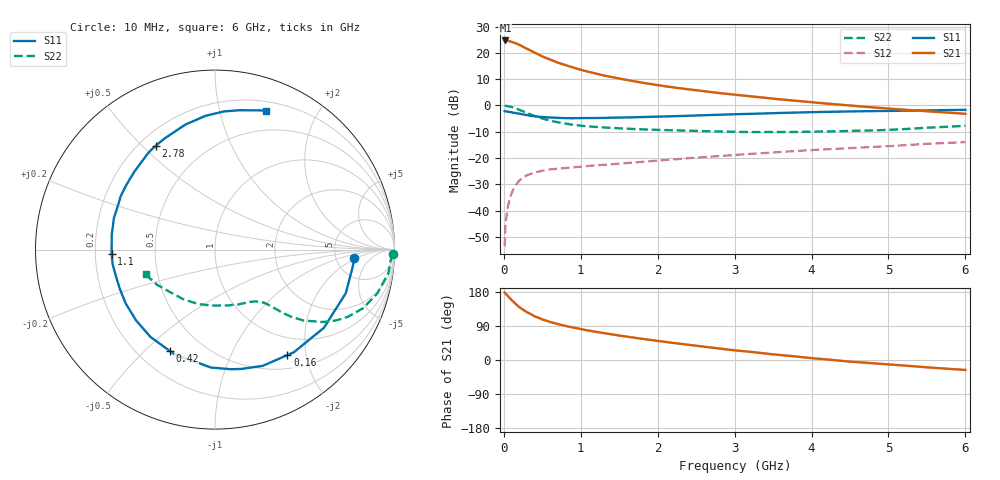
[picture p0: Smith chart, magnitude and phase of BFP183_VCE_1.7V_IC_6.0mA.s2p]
! Infineon Technologies  Discrete & RF Semiconductors
! BFP183
! VCE = 1.7 V,  IC =  6.0 mA
! Common Emitter S-Parameters:  Jan 2016
# GHz  S  MA  R  50
!  f  S11  S21  S12  S22
! GHz  MAG  ANG  MAG  ANG  MAG  ANG  MAG  ANG
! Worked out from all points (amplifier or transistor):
!   210 points, 10 MHz to 6 GHz, reference 50 ohm
!   highest |S21| = 24.7 dB at 20 MHz (marker M1)
!   |S21| within 3 dB of that: start of sweep to 290.1 MHz
!   unconditionally stable (mu >= 1): 1.411 GHz to 5.797 GHz
!   at 185 MHz: K = 0.19, MSG = 26.2 dB, |S12| = -29.1 dB
!   at 1.52 GHz: K = 1.04, MAG = 15.0 dB, |S12| = -22.1 dB
!   at 6 GHz: K = 0.96, MSG = 5.4 dB, |S12| = -14.0 dB
!   S11 on the Smith chart (normalised r, x): 10 MHz: 7.56, -1.88; 160 MHz: 0.70, -1.68; 420 MHz: 0.33, -0.60; 1.1 GHz: 0.27, -0.02; 2.78 GHz: 0.26, +0.55; 6 GHz: 0.29, +1.40
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0.01  0.7786 -3.6  17.21 178.0  0.0021 87.3  0.992 -1.5
0.02  0.7725 -7.5  17.27 175.9  0.0048 87.6  0.9814 -3.1
0.05  0.7682 -18.4  17.18 168.8  0.0113 82.5  0.975 -7.7
0.1  0.7471 -35.7  16.26 158.3  0.0212 71.9  0.9368 -15.1
0.16  0.713 -55.5  15.15 146.8  0.0312 63.1  0.8761 -22.5
0.2  0.7002 -67.7  14.33 139.7  0.0371 58.4  0.8301 -26.8
0.26  0.6727 -82.3  12.82 131.2  0.0435 52.2  0.7637 -31.5
0.3  0.6577 -91.9  12.04 126.2  0.047 49.1  0.7195 -34.1
0.4  0.6252 -111.3  10.15 115.2  0.0527 42.9  0.6296 -38.8
0.42  0.6177 -114.2  9.822 113.8  0.0536 42.0  0.6161 -39.3
0.5  0.605 -126.5  8.58 107.0  0.0572 38.5  0.5628 -41.5
0.68  0.5814 -146.6  6.72 96.0  0.0622 34.9  0.4856 -44.0
0.8  0.5737 -157.4  5.855 89.9  0.0645 33.4  0.4509 -45.0
1.02  0.5757 -173.0  4.68 80.8  0.0687 32.8  0.4094 -46.9
1.1  0.5764 -177.8  4.372 77.6  0.0708 32.6  0.3994 -47.6
1.5  0.59 162.8  3.25 64.4  0.0781 33.1  0.3671 -51.8
2.02  0.6132 142.4  2.405 49.8  0.0899 33.8  0.3437 -59.6
2.78  0.6661 119.8  1.734 30.5  0.1087 33.4  0.3214 -75.2
3.1  0.6856 111.9  1.546 23.6  0.117 32.6  0.3136 -83.0
4.1  0.7503 92.6  1.119 3.3  0.1443 28.3  0.318 -110.8
5.1  0.7913 78.9  0.851 -13.2  0.1712 23.5  0.3487 -138.7
6  0.8259 69.7  0.694 -26.3  0.2006 16.3  0.4109 -160.3
